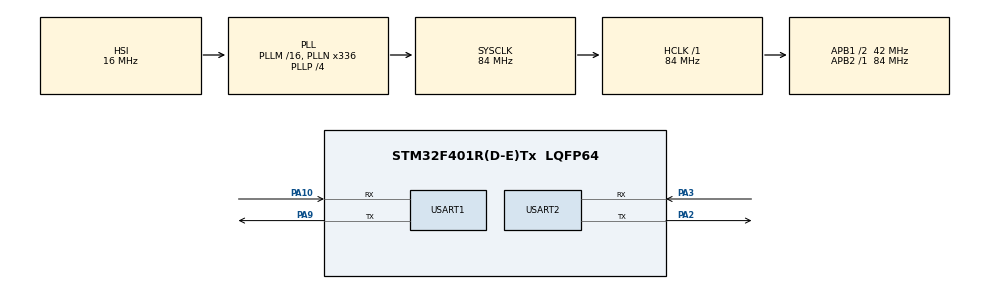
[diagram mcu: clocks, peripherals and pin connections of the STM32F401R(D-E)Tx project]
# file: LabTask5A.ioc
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Mcu.Family=STM32F4
Mcu.Name=STM32F401R(D-E)Tx
Mcu.Package=LQFP64
NVIC.PriorityGroup=NVIC_PRIORITYGROUP_4
NVIC.USART1_IRQn=true\:0\:0\:false\:false\:true\:true\:true\:true
PA10.Mode=Asynchronous
PA10.Signal=USART1_RX
PA2.Mode=Asynchronous
PA2.Signal=USART2_TX
PA3.Mode=Asynchronous
PA3.Signal=USART2_RX
PA9.Mode=Asynchronous
PA9.Signal=USART1_TX
ProjectManager.HeapSize=0x200
ProjectManager.StackSize=0x400
ProjectManager.TargetToolchain=STM32CubeIDE
RCC.48MHZClocksFreq_Value=84000000
RCC.AHBFreq_Value=84000000
RCC.APB1CLKDivider=RCC_HCLK_DIV2
RCC.APB1Freq_Value=42000000
RCC.APB1TimFreq_Value=84000000
RCC.APB2Freq_Value=84000000
RCC.APB2TimFreq_Value=84000000
RCC.CortexFreq_Value=84000000
RCC.HCLKFreq_Value=84000000
RCC.HSE_VALUE=25000000
RCC.HSI_VALUE=16000000
RCC.LSE_VALUE=32768
RCC.PLLN=336
RCC.PLLP=RCC_PLLP_DIV4
RCC.SYSCLKFreq_VALUE=84000000
RCC.SYSCLKSource=RCC_SYSCLKSOURCE_PLLCLK
RCC.VCOOutputFreq_Value=336000000
USART1.VirtualMode=VM_ASYNC
USART2.VirtualMode=VM_ASYNC
board=custom

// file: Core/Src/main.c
/* USER CODE BEGIN Header */
/**
  ******************************************************************************
  * @file           : main.c
  * @brief          : Main program body
  ******************************************************************************
  * @attention
  *
  * Copyright (c) 2026 STMicroelectronics.
  * All rights reserved.
  *
  * This software is licensed under terms that can be found in the LICENSE file
  * in the root directory of this software component.
  * If no LICENSE file comes with this software, it is provided AS-IS.
  *
  ******************************************************************************
  */
/* USER CODE END Header */
#include "main.h"
#include <stdio.h>

UART_HandleTypeDef huart1;
UART_HandleTypeDef huart2;

void SystemClock_Config(void);
static void MX_GPIO_Init(void);
static void MX_USART1_UART_Init(void);
static void MX_USART2_UART_Init(void);

/* USER CODE BEGIN 0 */
#define RSSI_READING_TYPE  0x01
#define END_FRAME_TYPE     0x02
#define RSSI_SAMPLE_COUNT  20

int8_t rssi_values[RSSI_SAMPLE_COUNT];
uint8_t rssi_count = 0;

uint16_t CRC16_MODBUS(uint8_t *data, uint16_t length)
{
    uint16_t crc = 0xFFFF;

    for (uint16_t i = 0; i < length; i++)
    {
        crc ^= data[i];

        for (uint8_t bit = 0; bit < 8; bit++)
        {
            if (crc & 1)
                crc = (crc >> 1) ^ 0xA001;
            else
                crc >>= 1;
        }
    }

    return crc;
}

int16_t CalculateMedian(int8_t *values, uint8_t count)
{
    int8_t sorted[RSSI_SAMPLE_COUNT];

    for (uint8_t i = 0; i < count; i++)
    {
        sorted[i] = values[i];
    }

    // Insertion sort
    for (uint8_t i = 1; i < count; i++)
    {
        int8_t key = sorted[i];
        int j = i - 1;

        while (j >= 0 && sorted[j] > key)
        {
            sorted[j + 1] = sorted[j];
            j--;
        }

        sorted[j + 1] = key;
    }

    // For 20 samples, average the 10th and 11th values.
    return (int16_t)sorted[count / 2 - 1]
         + (int16_t)sorted[count / 2];
}

void ReceiveAndProcessFrame(void)
{
    uint8_t start;
    uint8_t length;
    uint8_t payload[16];
    uint8_t crc_bytes[2];

    // 1. Wait for the start byte
    if (HAL_UART_Receive(&huart1, &start, 1, 100) != HAL_OK)
        return;

    if (start != 0xA5)
        return;

    // 2. Read payload length
    if (HAL_UART_Receive(&huart1, &length, 1, 100) != HAL_OK)
        return;

    if (length == 0 || length > sizeof(payload))
        return;

    // 3. Read the complete payload
    if (HAL_UART_Receive(&huart1, payload, length, 100) != HAL_OK)
        return;

    // 4. Read CRC (low byte first)
    if (HAL_UART_Receive(&huart1, crc_bytes, 2, 100) != HAL_OK)
        return;

    uint16_t received_crc =
        (uint16_t)crc_bytes[0] |
        ((uint16_t)crc_bytes[1] << 8);

    // CRC covers LENGTH + PAYLOAD
    uint8_t crc_data[17];
    crc_data[0] = length;

    for (uint8_t i = 0; i < length; i++)
        crc_data[i + 1] = payload[i];

    uint16_t calculated_crc =
        CRC16_MODBUS(crc_data, length + 1);

    // 5. Validate CRC
    if (received_crc != calculated_crc)
    {
        printf("Invalid CRC\r\n");
        return;
    }

    // At least TYPE and SEQ must be present
    if (length < 2)
        return;

    uint8_t type = payload[0];
    uint8_t seq  = payload[1];

    // 6. RSSI_READING frame: TYPE + SEQ + 1-byte RSSI
    if (type == RSSI_READING_TYPE && length == 3)
    {
        if (rssi_count < RSSI_SAMPLE_COUNT)
        {
            int8_t rssi = (int8_t)payload[2];

            rssi_values[rssi_count] = rssi;
            rssi_count++;

            printf("RSSI %u: %d dBm\r\n",
                   rssi_count, (int)rssi);
        }
    }

    // 7. END frame: TYPE + SEQ, no payload

    else if (type == END_FRAME_TYPE && length == 2)
    {
        if (rssi_count == RSSI_SAMPLE_COUNT)
        {
            int16_t median_twice =
                CalculateMedian(rssi_values, RSSI_SAMPLE_COUNT);

            if (median_twice % 2 == 0)
            {
                printf("Median of 20 readings: %d dBm\r\n",
                       median_twice / 2);
            }
            else
            {
                int16_t abs_value = median_twice < 0
                                  ? -median_twice : median_twice;

                printf("Median of 20 readings: %s%d.5 dBm\r\n",
                       median_twice < 0 ? "-" : "",
                       abs_value / 2);
            }

            rssi_count = 0;
        }
        else
        {
            printf("END received, but only %u readings collected\r\n",
                   rssi_count);

            rssi_count = 0;
        }
    }
}

/* USER CODE END 0 */

int main(void)
{

  /* MCU Configuration--------------------------------------------------------*/

  /* Reset of all peripherals, Initializes the Flash interface and the Systick. */
  HAL_Init();

  /* Configure the system clock */
  SystemClock_Config();

  /* Initialize all configured peripherals */
  MX_GPIO_Init();
  MX_USART1_UART_Init();
  MX_USART2_UART_Init();

  /* Infinite loop */
  while (1)
  {
	  ReceiveAndProcessFrame();
  }
}

void SystemClock_Config(void)
{
  RCC_OscInitTypeDef RCC_OscInitStruct = {0};
  RCC_ClkInitTypeDef RCC_ClkInitStruct = {0};

  /** Configure the main internal regulator output voltage
  */
  __HAL_RCC_PWR_CLK_ENABLE();
  __HAL_PWR_VOLTAGESCALING_CONFIG(PWR_REGULATOR_VOLTAGE_SCALE2);

  /** Initializes the RCC Oscillators according to the specified parameters
  * in the RCC_OscInitTypeDef structure.
  */
  RCC_OscInitStruct.OscillatorType = RCC_OSCILLATORTYPE_HSI;
  RCC_OscInitStruct.HSIState = RCC_HSI_ON;
  RCC_OscInitStruct.HSICalibrationValue = RCC_HSICALIBRATION_DEFAULT;
  RCC_OscInitStruct.PLL.PLLState = RCC_PLL_ON;
  RCC_OscInitStruct.PLL.PLLSource = RCC_PLLSOURCE_HSI;
  RCC_OscInitStruct.PLL.PLLM = 16;
  RCC_OscInitStruct.PLL.PLLN = 336;
  RCC_OscInitStruct.PLL.PLLP = RCC_PLLP_DIV4;
  RCC_OscInitStruct.PLL.PLLQ = 4;
  if (HAL_RCC_OscConfig(&RCC_OscInitStruct) != HAL_OK)
  {
    Error_Handler();
  }

  /** Initializes the CPU, AHB and APB buses clocks
  */
  RCC_ClkInitStruct.ClockType = RCC_CLOCKTYPE_HCLK|RCC_CLOCKTYPE_SYSCLK
                              |RCC_CLOCKTYPE_PCLK1|RCC_CLOCKTYPE_PCLK2;
  RCC_ClkInitStruct.SYSCLKSource = RCC_SYSCLKSOURCE_PLLCLK;
  RCC_ClkInitStruct.AHBCLKDivider = RCC_SYSCLK_DIV1;
  RCC_ClkInitStruct.APB1CLKDivider = RCC_HCLK_DIV2;
  RCC_ClkInitStruct.APB2CLKDivider = RCC_HCLK_DIV1;

  if (HAL_RCC_ClockConfig(&RCC_ClkInitStruct, FLASH_LATENCY_2) != HAL_OK)
  {
    Error_Handler();
  }
}

static void MX_USART1_UART_Init(void)
{

  huart1.Instance = USART1;
  huart1.Init.BaudRate = 115200;
  huart1.Init.WordLength = UART_WORDLENGTH_8B;
  huart1.Init.StopBits = UART_STOPBITS_1;
  huart1.Init.Parity = UART_PARITY_NONE;
  huart1.Init.Mode = UART_MODE_TX_RX;
  huart1.Init.HwFlowCtl = UART_HWCONTROL_NONE;
  huart1.Init.OverSampling = UART_OVERSAMPLING_16;
  if (HAL_UART_Init(&huart1) != HAL_OK)
  {
    Error_Handler();
  }

}

static void MX_USART2_UART_Init(void)
{

  huart2.Instance = USART2;
  huart2.Init.BaudRate = 115200;
  huart2.Init.WordLength = UART_WORDLENGTH_8B;
  huart2.Init.StopBits = UART_STOPBITS_1;
  huart2.Init.Parity = UART_PARITY_NONE;
  huart2.Init.Mode = UART_MODE_TX_RX;
  huart2.Init.HwFlowCtl = UART_HWCONTROL_NONE;
  huart2.Init.OverSampling = UART_OVERSAMPLING_16;
  if (HAL_UART_Init(&huart2) != HAL_OK)
  {
    Error_Handler();
  }

}

static void MX_GPIO_Init(void)
{

  /* GPIO Ports Clock Enable */
  __HAL_RCC_GPIOA_CLK_ENABLE();

}

/* USER CODE BEGIN 4 */
int __io_putchar(int ch)
{
    HAL_UART_Transmit(&huart2, (uint8_t *)&ch, 1, HAL_MAX_DELAY);
    return ch;
}

/* USER CODE END 4 */

void Error_Handler(void)
{
  __disable_irq();
  while (1)
  {
  }
}
